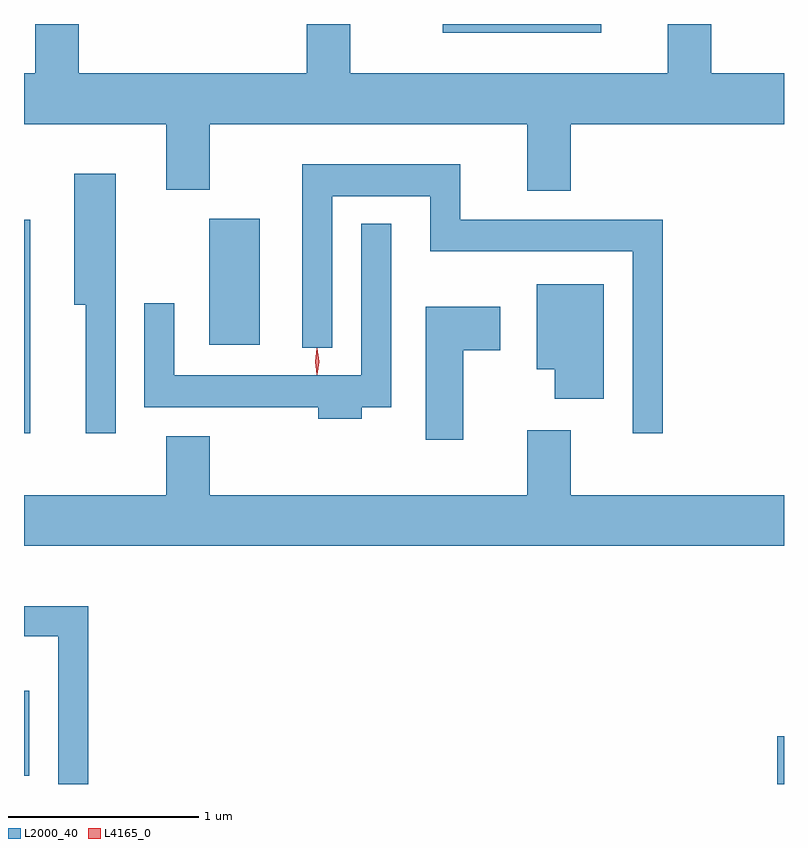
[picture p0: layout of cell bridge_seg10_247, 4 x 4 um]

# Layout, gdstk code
import gdstk
lib = gdstk.Library(unit=1e-6, precision=1e-09)
def R(c, l, rs):  # rectangles x0, y0, x1, y1
    for r in rs: c.add(gdstk.rectangle(r[:2], r[2:], *l))
def P(c, l, *ps):  # polygons
    for p in ps: c.add(gdstk.Polygon(p, *l))
L2000_40 = (2000, 40)
L4165_0 = (4165, 0)

bridge_seg10_247 = lib.new_cell('bridge_seg10_247')
R(bridge_seg10_247, L2000_40, [(1811.846,2097.123,1811.882,2097.374), (1807.882,2097.166,1807.909,2097.613), (1807.882,2098.968,1807.914,2100.094), (1808.856,2099.436,1809.124,2100.099), (1810.086,2101.076,1810.919,2101.123)])
P(bridge_seg10_247, L2000_40, [(1810.759,2100.596),(1811.882,2100.596),(1811.882,2100.864),(1811.499,2100.864),(1811.499,2101.123),(1811.271,2101.123),(1811.271,2100.864),(1809.599,2100.864),(1809.599,2101.123),(1809.371,2101.123),(1809.371,2100.864),(1808.169,2100.864),(1808.169,2101.123),(1807.941,2101.123),(1807.941,2100.864),(1807.882,2100.864),(1807.882,2100.596),(1808.631,2100.596),(1808.631,2100.251),(1808.859,2100.251),(1808.859,2100.596),(1810.531,2100.596),(1810.531,2100.246),(1810.759,2100.246)],
  [(1811.244,2100.094),(1810.179,2100.094),(1810.179,2100.384),(1809.346,2100.384),(1809.346,2099.418),(1809.504,2099.418),(1809.504,2100.216),(1810.021,2100.216),(1810.021,2099.926),(1811.086,2099.926),(1811.086,2098.968),(1811.244,2098.968)],
  [(1808.364,2100.334),(1808.146,2100.334),(1808.146,2099.646),(1808.206,2099.646),(1808.206,2098.968),(1808.364,2098.968)],
  [(1809.659,2099.106),(1809.814,2099.106),(1809.814,2100.073),(1809.656,2100.073),(1809.656,2099.274),(1808.674,2099.274),(1808.674,2099.653),(1808.516,2099.653),(1808.516,2099.106),(1809.431,2099.106),(1809.431,2099.046),(1809.659,2099.046)],
  [(1810.934,2099.754),(1810.581,2099.754),(1810.581,2099.306),(1810.676,2099.306),(1810.676,2099.151),(1810.934,2099.151)],
  [(1810.194,2099.406),(1810.389,2099.406),(1810.389,2099.634),(1809.996,2099.634),(1809.996,2098.936),(1810.194,2098.936)],
  [(1811.882,2098.644),(1810.759,2098.644),(1810.759,2098.984),(1810.531,2098.984),(1810.531,2098.644),(1808.859,2098.644),(1808.859,2098.954),(1808.631,2098.954),(1808.631,2098.644),(1807.882,2098.644),(1807.882,2098.376),(1811.882,2098.376)],
  [(1808.219,2098.059),(1807.882,2098.059),(1807.882,2097.901),(1808.061,2097.901),(1808.061,2097.123),(1808.219,2097.123)])
P(bridge_seg10_247, L4165_0, [(1809.424,2099.279),(1809.424,2099.28),(1809.414,2099.346),(1809.424,2099.412),(1809.424,2099.413),(1809.425,2099.412),(1809.434,2099.346),(1809.425,2099.28)],
  [(1809.424,2099.277),(1809.415,2099.346),(1809.424,2099.416),(1809.425,2099.416),(1809.425,2099.416),(1809.435,2099.346),(1809.425,2099.277),(1809.425,2099.277)])

lib.write_gds('bridge_seg10_247.gds')
